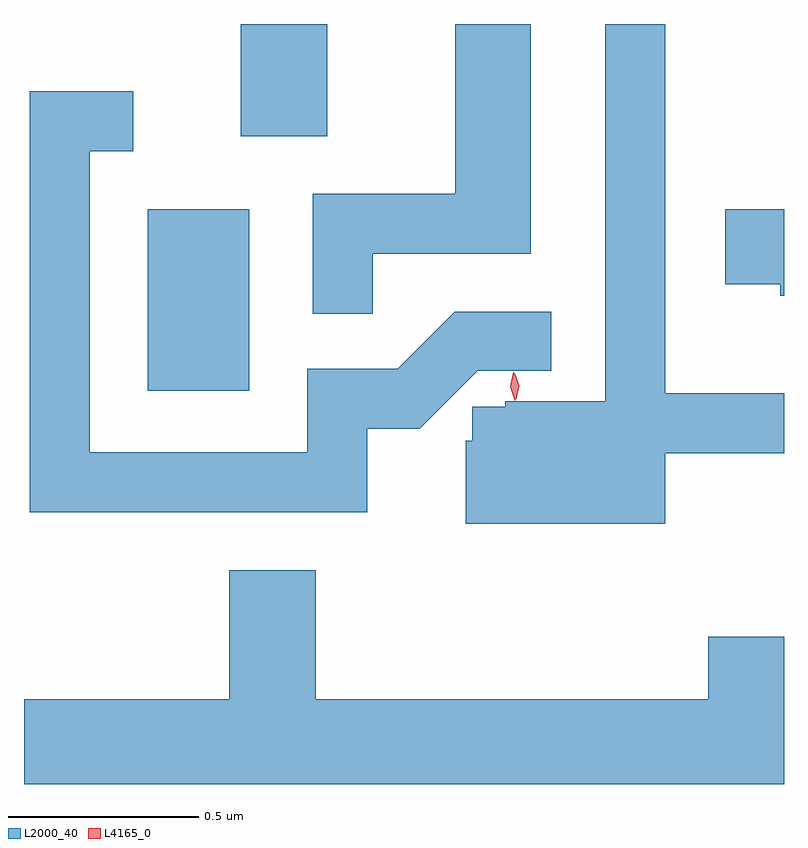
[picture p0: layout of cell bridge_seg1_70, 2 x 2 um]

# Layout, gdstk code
import gdstk
lib = gdstk.Library(unit=1e-6, precision=1e-09)
def R(c, l, rs):  # rectangles x0, y0, x1, y1
    for r in rs: c.add(gdstk.rectangle(r[:2], r[2:], *l))
def P(c, l, *ps):  # polygons
    for p in ps: c.add(gdstk.Polygon(p, *l))
L2000_40 = (2000, 40)
L4165_0 = (4165, 0)

bridge_seg1_70 = lib.new_cell('bridge_seg1_70')
R(bridge_seg1_70, L2000_40, [(1773.666,947.276,1773.934,947.754), (1773.911,947.946,1774.139,948.241)])
P(bridge_seg1_70, L2000_40, [(1775.029,947.111),(1775.341,947.111),(1775.341,947.269),(1775.029,947.269),(1775.029,948.241),(1774.871,948.241),(1774.871,947.248),(1774.607,947.248),(1774.607,947.234),(1774.52,947.234),(1774.52,947.144),(1774.504,947.144),(1774.504,946.926),(1775.029,946.926)],
  [(1774.259,947.636),(1774.674,947.636),(1774.674,948.241),(1774.476,948.241),(1774.476,947.794),(1774.101,947.794),(1774.101,947.478),(1774.259,947.478)],
  [(1774.244,947.176),(1774.383,947.176),(1774.535,947.329),(1774.728,947.329),(1774.728,947.484),(1774.474,947.484),(1774.324,947.334),(1774.086,947.334),(1774.086,947.114),(1773.514,947.114),(1773.514,947.906),(1773.628,947.906),(1773.628,948.064),(1773.356,948.064),(1773.356,946.956),(1774.244,946.956)],
  [(1775.341,947.754),(1775.186,947.754),(1775.186,947.556),(1775.331,947.556),(1775.331,947.526),(1775.341,947.526)],
  [(1775.341,946.629),(1775.141,946.629),(1775.141,946.464),(1774.109,946.464),(1774.109,946.804),(1773.881,946.804),(1773.881,946.464),(1773.341,946.464),(1773.341,946.241),(1775.341,946.241)])
P(bridge_seg1_70, L4165_0, [(1774.636,947.254),(1774.636,947.254),(1774.624,947.287),(1774.631,947.322),(1774.632,947.322),(1774.632,947.322),(1774.644,947.289),(1774.637,947.254)],
  [(1774.632,947.251),(1774.621,947.287),(1774.629,947.324),(1774.629,947.325),(1774.63,947.324),(1774.641,947.288),(1774.634,947.251),(1774.633,947.251)])

lib.write_gds('bridge_seg1_70.gds')
